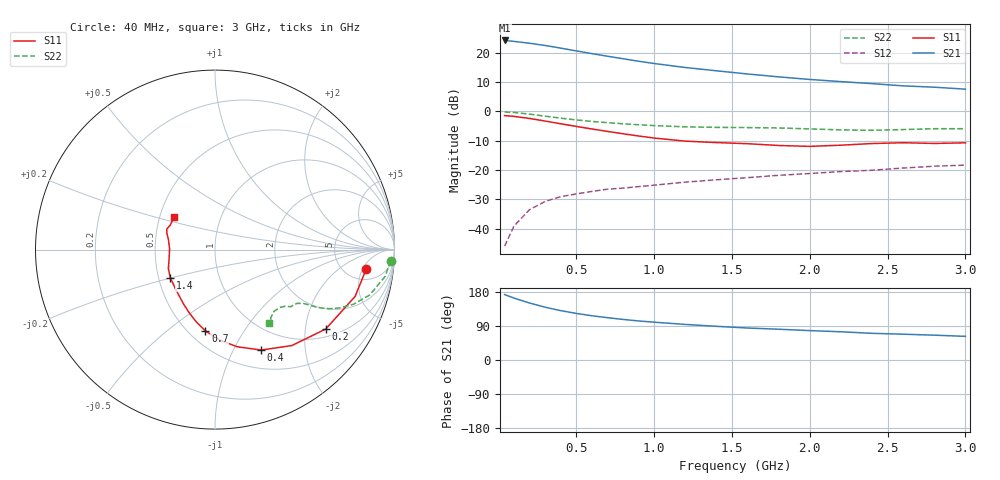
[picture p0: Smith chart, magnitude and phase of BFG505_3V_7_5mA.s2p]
! Filename:  BFG505F.S2P  Version:  3.0
! Philips part #: BFG505  Date: Feb 1992
! Bias condition: Vce=3V, Ic=7.5mA
! IN LINE PINNING: same data as with cross emitter pinning.
#  MHz  S  MA  R  50
! Freq  S11  S21  S12  S22  !GUM [dB]
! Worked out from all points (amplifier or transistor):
!   21 points, 40 MHz to 3 GHz, reference 50 ohm
!   highest |S21| = 24.2 dB at 40 MHz (marker M1)
!   |S21| within 3 dB of that: start of sweep to 440.7 MHz
!   unconditionally stable (mu >= 1): 1.399 GHz to end of sweep
!   at 300 MHz: K = 0.33, MSG = 26.6 dB, |S12| = -30.8 dB
!   at 1 GHz: K = 0.87, MSG = 20.8 dB, |S12| = -25.2 dB
!   at 3 GHz: K = 1.20, MAG = 10.3 dB, |S12| = -18.3 dB
!   S11 on the Smith chart (normalised r, x): 40 MHz: 7.48, -5.94; 200 MHz: 1.23, -2.58; 400 MHz: 0.72, -1.29; 700 MHz: 0.60, -0.69; 1.4 GHz: 0.58, -0.20; 3 GHz: 0.59, +0.23
40  0.849 -7.5  16.29 172.7  0.005 82.9  0.98 -3.6
100  0.823 -18.5  15.71 163.4  0.011 79.6  0.96 -8.9
200  0.759 -35.7  14.6 150.4  0.021 71.1  0.899 -16.3
300  0.685 -51.3  13.38 139.3  0.029 65.4  0.83 -21.5
400  0.616 -65.3  12.06 130.3  0.035 61.1  0.768 -25.0
500  0.555 -77.2  10.8 123.0  0.039 58.6  0.716 -27.4
600  0.502 -87.6  9.721 116.8  0.043 57.8  0.675 -28.8
700  0.456 -96.7  8.776 111.7  0.047 57.1  0.643 -29.7
800  0.416 -104.6  7.948 107.1  0.049 57.1  0.616 -30.3
900  0.381 -112.0  7.201 103.1  0.052 57.1  0.592 -30.9
1000  0.351 -119.8  6.584 99.8  0.055 57.9  0.573 -31.5
1200  0.311 -134.9  5.626 93.9  0.062 59.0  0.546 -33.3
1400  0.294 -147.8  4.947 88.9  0.068 59.8  0.534 -35.5
1600  0.281 -157.6  4.36 84.4  0.074 61.4  0.53 -36.8
1800  0.262 -167.8  3.893 81.2  0.081 62.4  0.522 -37.5
2000  0.253 179.3  3.516 77.6  0.087 62.9  0.503 -38.8
2200  0.265 167.9  3.232 74.5  0.094 63.0  0.484 -41.8
2400  0.283 161.3  2.984 70.4  0.099 63.8  0.476 -46.3
2600  0.292 156.9  2.733 68.1  0.108 64.6  0.49 -50.5
2800  0.284 151.0  2.593 65.5  0.116 64.5  0.507 -52.6
3000  0.291 142.0  2.4 62.4  0.121 65.0  0.507 -53.3
